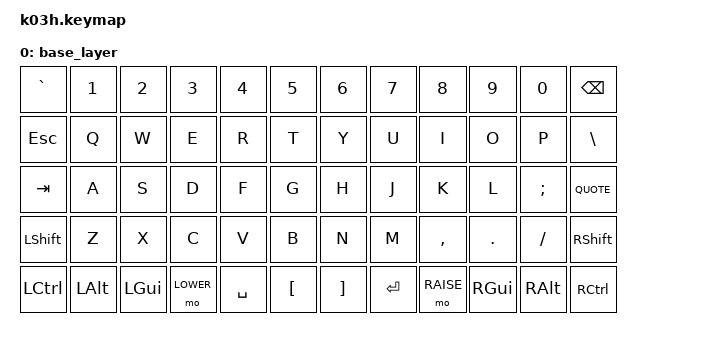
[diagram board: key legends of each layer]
// This file was generated from a template. Edit it to match your keyboard.
// See https://zmk.dev/docs/development/hardware-integration/new-shield for more instructions.

#include <behaviors.dtsi>
#include <dt-bindings/zmk/keys.h>

/ {
    // Define a default keymap here.
    // See https://zmk.dev/docs/development/hardware-integration/new-shield#default-keymap.
    keymap {
        compatible = "zmk,keymap";

        base_layer {
            bindings = <
                &kp GRAVE   &kp 1    &kp 2    &kp 3    &kp 4    &kp 5      &kp 6    &kp 7    &kp 8    &kp 9    &kp 0    &kp BACKSPACE
                &kp ESC     &kp Q    &kp W    &kp E    &kp R    &kp T      &kp Y    &kp U    &kp I    &kp O    &kp P    &kp BACKSLASH
                &kp TAB     &kp A    &kp S    &kp D    &kp F    &kp G      &kp H    &kp J    &kp K    &kp L    &kp SEMICOLON &kp QUOTE
                &kp LEFT_SHIFT &kp Z &kp X    &kp C    &kp V    &kp B      &kp N    &kp M    &kp COMMA &kp DOT &kp SLASH &kp RIGHT_SHIFT
                &kp LEFT_CONTROL &kp LEFT_ALT &kp LEFT_GUI &mo LOWER &kp SPACE &kp LEFT_BRACKET &kp RIGHT_BRACKET &kp ENTER &mo RAISE &kp RIGHT_GUI &kp RIGHT_ALT &kp RIGHT_CONTROL
            >;
        };
        // ... остальные слои (LOWER, RAISE, ADJUST) по аналогии
    };


};
